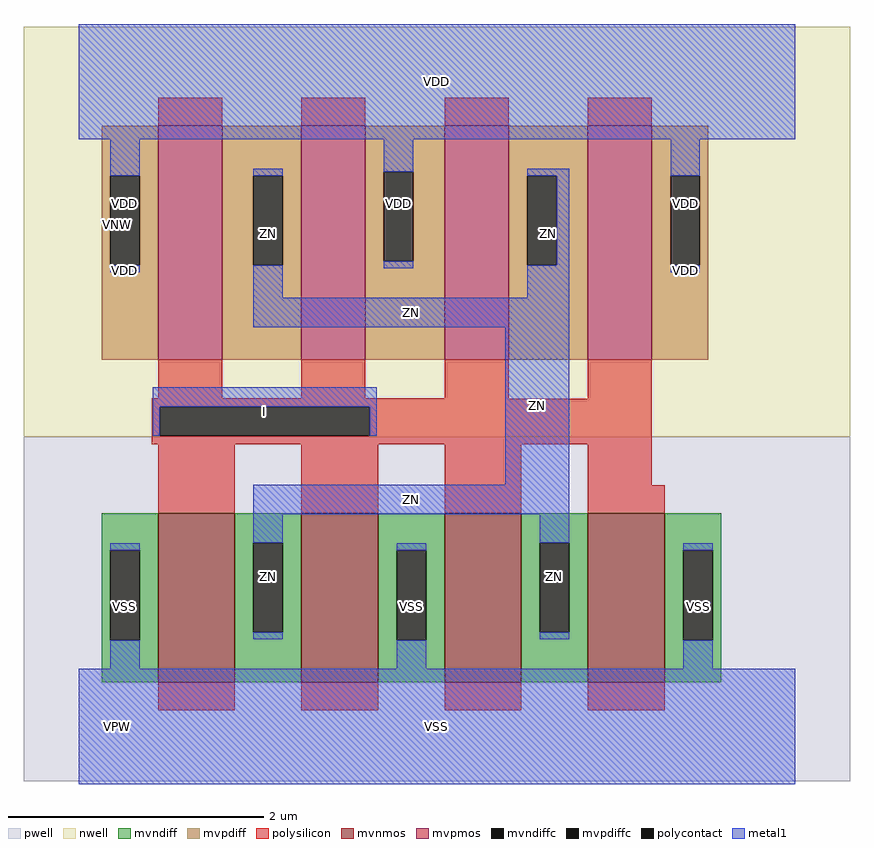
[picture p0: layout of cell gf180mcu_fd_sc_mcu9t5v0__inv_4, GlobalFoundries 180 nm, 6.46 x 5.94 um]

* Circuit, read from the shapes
.subckt gf180mcu_fd_sc_mcu9t5v0__inv_4 I ZN VDD VNW VPW VSS
XM1 ZN I VSS VPW nfet_06v0 w=1.32u l=0.6u m=4
XM2 ZN I VDD VNW pfet_06v0 w=1.83u l=0.5u m=4
.ends

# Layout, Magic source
magic
tech gf180mcuD
magscale 1 10
<< nwell >>
rect -86 453 1206 1094
<< pwell >>
rect -86 -86 1206 453
<< mvnmos >>
rect 124 69 244 333
rect 348 69 468 333
rect 572 69 692 333
rect 796 69 916 333
<< mvpmos >>
rect 124 573 224 939
rect 348 573 448 939
rect 572 573 672 939
rect 796 573 896 939
<< mvndiff >>
rect 36 275 124 333
rect 36 135 49 275
rect 95 135 124 275
rect 36 69 124 135
rect 244 287 348 333
rect 244 147 273 287
rect 319 147 348 287
rect 244 69 348 147
rect 468 275 572 333
rect 468 135 497 275
rect 543 135 572 275
rect 468 69 572 135
rect 692 287 796 333
rect 692 147 721 287
rect 767 147 796 287
rect 692 69 796 147
rect 916 275 1004 333
rect 916 135 945 275
rect 991 135 1004 275
rect 916 69 1004 135
<< mvpdiff >>
rect 36 861 124 939
rect 36 721 49 861
rect 95 721 124 861
rect 36 573 124 721
rect 224 861 348 939
rect 224 721 273 861
rect 319 721 348 861
rect 224 573 348 721
rect 448 867 572 939
rect 448 727 477 867
rect 523 727 572 867
rect 448 573 572 727
rect 672 861 796 939
rect 672 721 701 861
rect 747 721 796 861
rect 672 573 796 721
rect 896 861 984 939
rect 896 721 925 861
rect 971 721 984 861
rect 896 573 984 721
<< mvndiffc >>
rect 49 135 95 275
rect 273 147 319 287
rect 497 135 543 275
rect 721 147 767 287
rect 945 135 991 275
<< mvpdiffc >>
rect 49 721 95 861
rect 273 721 319 861
rect 477 727 523 867
rect 701 721 747 861
rect 925 721 971 861
<< polysilicon >>
rect 124 939 224 983
rect 348 939 448 983
rect 572 939 672 983
rect 796 939 896 983
rect 124 513 224 573
rect 348 513 448 573
rect 572 513 672 573
rect 114 512 672 513
rect 796 512 896 573
rect 114 500 896 512
rect 114 454 127 500
rect 455 454 896 500
rect 114 441 896 454
rect 124 333 244 441
rect 348 333 468 441
rect 572 333 692 441
rect 796 377 896 441
rect 796 333 916 377
rect 124 25 244 69
rect 348 25 468 69
rect 572 25 692 69
rect 796 25 916 69
<< polycontact >>
rect 127 454 455 500
<< metal1 >>
rect 0 918 1120 1098
rect 49 861 95 918
rect 49 710 95 721
rect 273 861 319 872
rect 273 670 319 721
rect 477 867 523 918
rect 477 716 523 727
rect 701 861 767 872
rect 747 721 767 861
rect 701 670 767 721
rect 925 861 971 918
rect 925 710 971 721
rect 273 624 767 670
rect 116 500 466 530
rect 116 454 127 500
rect 455 454 466 500
rect 667 378 767 624
rect 273 332 767 378
rect 273 287 319 332
rect 49 275 95 286
rect 721 287 767 332
rect 273 136 319 147
rect 497 275 543 286
rect 49 90 95 135
rect 721 136 767 147
rect 945 275 991 286
rect 497 90 543 135
rect 945 90 991 135
rect 0 -90 1120 90
<< labels >>
flabel metal1 s 116 454 466 530 0 FreeSans 200 0 0 0 I
port 1 nsew default input
flabel metal1 s 0 918 1120 1098 0 FreeSans 200 0 0 0 VDD
port 3 nsew power bidirectional abutment
flabel metal1 s 945 90 991 286 0 FreeSans 200 0 0 0 VSS
port 6 nsew ground bidirectional abutment
flabel metal1 s 701 670 767 872 0 FreeSans 200 0 0 0 ZN
port 2 nsew default output
flabel nwell s 10 734 110 834 0 FreeSans 400 0 0 0 VNW
port 4 nsew power bidirectional
flabel pwell s 10 -50 110 50 0 FreeSans 400 0 0 0 VPW
port 5 nsew ground bidirectional
rlabel metal1 s 273 670 319 872 1 ZN
port 2 nsew default output
rlabel metal1 s 273 624 767 670 1 ZN
port 2 nsew default output
rlabel metal1 s 667 378 767 624 1 ZN
port 2 nsew default output
rlabel metal1 s 273 332 767 378 1 ZN
port 2 nsew default output
rlabel metal1 s 721 136 767 332 1 ZN
port 2 nsew default output
rlabel metal1 s 273 136 319 332 1 ZN
port 2 nsew default output
rlabel metal1 s 925 716 971 918 1 VDD
port 3 nsew power bidirectional abutment
rlabel metal1 s 477 716 523 918 1 VDD
port 3 nsew power bidirectional abutment
rlabel metal1 s 49 716 95 918 1 VDD
port 3 nsew power bidirectional abutment
rlabel metal1 s 925 710 971 716 1 VDD
port 3 nsew power bidirectional abutment
rlabel metal1 s 49 710 95 716 1 VDD
port 3 nsew power bidirectional abutment
rlabel metal1 s 497 90 543 286 1 VSS
port 6 nsew ground bidirectional abutment
rlabel metal1 s 49 90 95 286 1 VSS
port 6 nsew ground bidirectional abutment
rlabel metal1 s 0 -90 1120 90 1 VSS
port 6 nsew ground bidirectional abutment
<< properties >>
string FIXED_BBOX 0 0 1120 1008
string GDS_END 881204
string GDS_FILE $PDKPATH/libs.ref/gf180mcu_fd_sc_mcu9t5v0/gds/gf180mcu_fd_sc_mcu9t5v0.gds
string GDS_START 877534
string LEFclass core
string LEFsite GF018hv5v_green_sc9
string LEFsymmetry X Y
<< end >>
